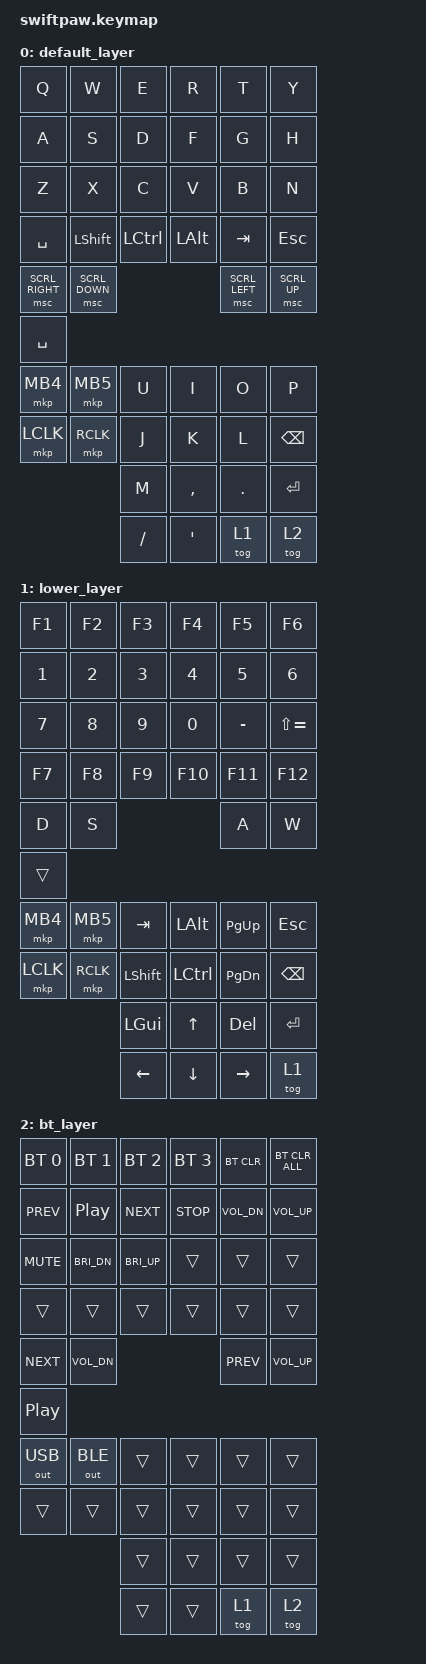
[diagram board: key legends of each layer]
#include <behaviors.dtsi>
#include <dt-bindings/zmk/keys.h>
#include <dt-bindings/zmk/bt.h>
#include <dt-bindings/zmk/mouse.h>
#include <dt-bindings/zmk/pointing.h>
#include <dt-bindings/zmk/outputs.h>

#undef ZMK_POINTING_DEFAULT_SCRL_VAL
#define ZMK_POINTING_DEFAULT_SCRL_VAL 15

/ {
    keymap {
        compatible = "zmk,keymap";

        default_layer {
            // Left half: 24 matrix keys (4x6) + 4 joystick positions + 1 joystick
            // button = 29
            // Right half: 20 matrix keys (4x6, minus 2 leftmost keys on each of the
            // bottom two rows) = 20
            // Total: 49
            //
            // Joystick is multi-directional SCROLL (&msc) on this layer -
            // up/down/left/right map to scroll up/down/left/right. Scroll
            // step size set via ZMK_POINTING_DEFAULT_SCRL_VAL above.
            //
            // Two plain TOGGLE keys now (no more hold-tap): one for
            // lower_layer, one for bt_layer - tap either to enter, tap
            // again (bound at the same spot on that layer) to leave.
            //
            // FINNISH LAYOUT NOTE: ZMK keycodes are named after their US
            // keyboard POSITION, not the character they produce - the actual
            // character depends on your OS's active layout. Since you're on
            // Finnish:
            //   &kp FSLH -> types "-"  (Finnish's "-" lives where US has "/")
            //   &kp SQT  -> types "'"  (same physical spot on both layouts, unchanged)
            //
            // NOTE ON ORDERING: key "positions" in a combined split keymap are
            // assigned block-sequentially - all of the central half's positions,
            // in its own local matrix-transform order, THEN all of the
            // peripheral's. So this list is laid out as: all 29 left positions
            // first, then all 20 right positions.
            bindings = <
// --- Left half, row by row ---
&kp Q     &kp W     &kp E     &kp R     &kp T     &kp Y
&kp A     &kp S     &kp D     &kp F     &kp G     &kp H
&kp Z     &kp X     &kp C     &kp V     &kp B     &kp N
&kp SPACE &kp LSHFT &kp LCTRL &kp LALT  &kp TAB   &kp ESC
// --- Left half joystick: columns are ordered by angle, clockwise starting
// from physical right (confirmed empirically: col0=right, col1=down;
// col2=left and col3=up are extrapolated from the same 90-degree clockwise
// spacing) ---
&msc SCRL_RIGHT &msc SCRL_DOWN &msc SCRL_LEFT &msc SCRL_UP
// --- Joystick button (P0.17) ---
&kp SPACE

// --- Right half, row by row (bottom two rows now start at col 2) ---
&mkp MB4  &mkp MB5  &kp U     &kp I     &kp O      &kp P
&mkp LCLK &mkp RCLK &kp J     &kp K     &kp L      &kp BSPC
                     &kp M    &kp COMMA &kp DOT    &kp RET
                     &kp FSLH &kp SQT   &tog 1     &tog 2
            >;
        };

        lower_layer {
            // FINNISH LAYOUT NOTE (continued):
            //   &kp MINUS     -> types "+"  (Finnish's "+" is where US has "-")
            //   &kp LS(EQUAL) -> types "`"  BUT this is a Finnish DEAD KEY
            //                    position (acute/grave accent key) - pressing
            //                    it may not immediately show a character until
            //                    you press another key (e.g. space) after it.
            //
            // NOTE: this row's toggle slot only has room for &tog 1 (to get
            // back to typing) - there's no spare slot here for a second
            // BT-layer toggle like default_layer has (this row is already
            // full with LEFT/DOWN/RIGHT). Use default_layer's &tog 2 to
            // reach bt_layer instead.
            bindings = <
// --- Left half ---
&kp F1    &kp F2    &kp F3    &kp F4    &kp F5    &kp F6
&kp N1    &kp N2    &kp N3    &kp N4    &kp N5    &kp N6
&kp N7    &kp N8    &kp N9    &kp N0    &kp MINUS &kp LS(EQUAL)
&kp F7    &kp F8    &kp F9    &kp F10   &kp F11   &kp F12
// Joystick as WASD on this layer (same clockwise column order as
// default_layer's scroll: col0=right, col1=down, col2=left, col3=up)
&kp D     &kp S     &kp A     &kp W
// --- Joystick button (P0.17) ---
&trans

// --- Right half ---
&mkp MB4  &mkp MB5  &kp TAB   &kp LALT  &kp PG_UP  &kp ESC
&mkp LCLK &mkp RCLK &kp LSHFT &kp LCTRL &kp PG_DN  &kp BSPC
                     &kp LGUI &kp UP    &kp DEL    &kp RET
                     &kp LEFT &kp DOWN  &kp RIGHT  &tog 1
            >;
        };

        bt_layer {
            // Entered/exited by tapping &tog 2 (on default_layer's right
            // bottom row) - a plain toggle now, no more hold-tap.
            bindings = <
// --- Left half: row0 BT profile select 0-3 + clear current + clear all
// (fits in one row of 6), row1 media transport + volume, row2 mute +
// brightness ---
&bt BT_SEL 0 &bt BT_SEL 1 &bt BT_SEL 2 &bt BT_SEL 3 &bt BT_CLR &bt BT_CLR_ALL
&kp C_PREV   &kp C_PP     &kp C_NEXT   &kp C_STOP   &kp C_VOL_DN &kp C_VOL_UP
&kp C_MUTE   &kp C_BRI_DN &kp C_BRI_UP &trans       &trans       &trans
&trans       &trans       &trans       &trans       &trans       &trans
// --- Joystick on this layer: up/down = volume, left/right = track skip
// (col0=right, col1=down, col2=left, col3=up) ---
&kp C_NEXT &kp C_VOL_DN &kp C_PREV &kp C_VOL_UP
// --- Joystick button: play/pause ---
&kp C_PP

// --- Right half: force output to USB or BLE (for debugging - lets you
// keep USB plugged in for serial logs while HID output stays on BLE,
// since USB logging and HID output are separate USB interfaces) ---
&out OUT_USB &out OUT_BLE &trans &trans &trans &trans
&trans &trans &trans &trans &trans &trans
              &trans &trans &trans &trans
              &trans &trans &tog 1 &tog 2
            >;
        };
    };
};
